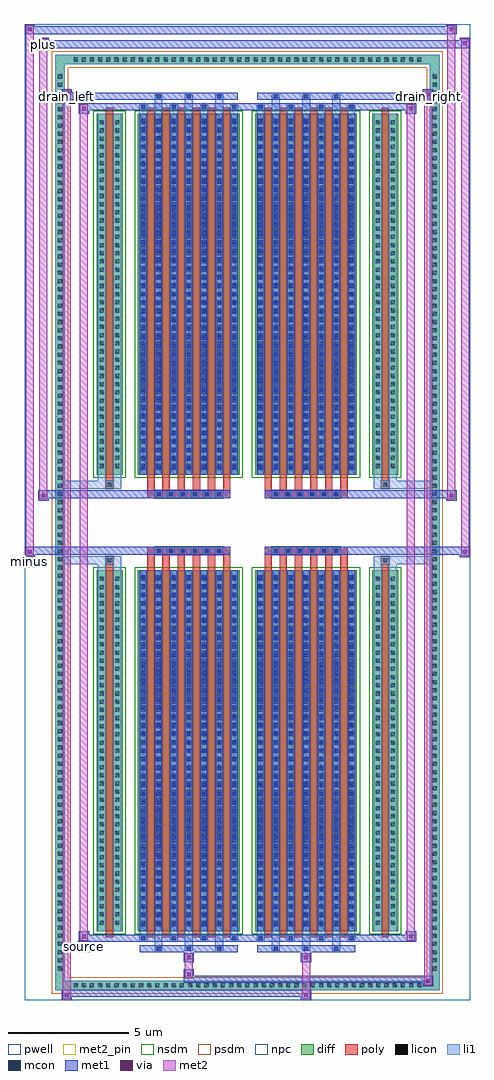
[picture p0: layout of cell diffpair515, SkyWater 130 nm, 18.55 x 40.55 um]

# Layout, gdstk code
import gdstk
lib = gdstk.Library(unit=1e-6, precision=5e-09)
def R(c, l, rs):  # rectangles x0, y0, x1, y1
    for r in rs: c.add(gdstk.rectangle(r[:2], r[2:], *l))
def A(c, l, x, y, w, h, nx, ny, dx, dy):  # array of equal rectangles
    R(c, l, [(x+i*dx, y+j*dy, x+i*dx+w, y+j*dy+h) for i in range(nx) for j in range(ny)])
def P(c, l, *ps):  # polygons
    for p in ps: c.add(gdstk.Polygon(p, *l))
pwell = (64, 44)
diff = (65, 20)
poly = (66, 20)
licon = (66, 44)
li1 = (67, 20)
mcon = (67, 44)
met1 = (68, 20)
via = (68, 44)
met2_pin = (69, 16)
met2 = (69, 20)
nsdm = (93, 44)
psdm = (94, 20)
npc = (95, 20)

diffpair515 = lib.new_cell('diffpair515')
R(diffpair515, pwell, [(-9.26,-19.84,9.26,20.71), (-6.58,-18.03,-0.01,-0.805), (0.01,-18.03,6.58,-0.805), (-6.58,0.805,-0.01,18.03), (0.01,0.805,6.58,18.03)])
A(diffpair515, diff, -7.345, -19.44, 0.41, 0.41, 43, 2, 0.34, 38.47)
A(diffpair515, diff, -7.99, -18.735, 0.41, 0.41, 1, 110, 0, 0.34)
A(diffpair515, diff, 7.58, -18.735, 0.41, 0.41, 1, 110, 0, 0.34)
R(diffpair515, diff, [(-7.345,-19.44,7.345,-19.03), (-7.99,-18.735,-7.58,18.735), (7.58,-18.735,7.99,18.735), (-6.27,-16.985,-5.19,-1.985), (-4.55,-16.985,-0.32,-1.985), (0.32,-16.985,4.55,-1.985), (5.19,-16.985,6.27,-1.985), (-6.27,1.985,-5.19,16.985), (-4.55,1.985,-0.32,16.985), (0.32,1.985,4.55,16.985), (5.19,1.985,6.27,16.985), (-7.345,19.03,7.345,19.44)])
P(diffpair515, diff, [(7.99,19.44),(-7.99,19.44),(-7.99,-19.03),(-7.58,-19.03),(-7.58,19.03),(7.58,19.03),(7.58,-19.03),(-7.58,-19.03),(-7.99,-19.03),(-7.99,-19.44),(7.99,-19.44)])
A(diffpair515, poly, -4.16, -17.235, 0.3, 15.5, 6, 2, 0.63, 18.97)
A(diffpair515, poly, 0.71, -17.235, 0.3, 15.5, 6, 2, 0.63, 18.97)
A(diffpair515, poly, -4.16, -1.735, 0.3, 0.4, 6, 2, 0.63, 3.07)
A(diffpair515, poly, 0.71, -1.735, 0.3, 0.4, 6, 2, 0.63, 3.07)
A(diffpair515, poly, -3.85, -1.335, 0.33, 0.33, 6, 2, 0.5, 2.34)
A(diffpair515, poly, 1.02, -1.335, 0.33, 0.33, 6, 2, 0.5, 2.34)
R(diffpair515, poly, [(-5.88,-17.235,-5.58,-1.735), (5.58,-17.235,5.88,-1.735), (-5.895,-1.735,-5.565,-1.405), (-5.895,-1.735,-5.565,-1.405), (5.565,-1.735,5.895,-1.405), (5.565,-1.735,5.895,-1.405), (-4.16,-1.335,-0.71,-1.005), (0.71,-1.335,4.16,-1.005), (-4.16,1.005,-0.71,1.335), (0.71,1.005,4.16,1.335), (-5.895,1.405,-5.565,1.735), (-5.895,1.405,-5.565,1.735), (5.565,1.405,5.895,1.735), (5.565,1.405,5.895,1.735), (-5.88,1.735,-5.58,17.235), (5.58,1.735,5.88,17.235)])
A(diffpair515, licon, -7.225, -19.32, 0.17, 0.17, 43, 2, 0.34, 38.47)
A(diffpair515, licon, -7.87, -18.615, 0.17, 0.17, 1, 110, 0, 0.34)
A(diffpair515, licon, 7.7, -18.615, 0.17, 0.17, 1, 110, 0, 0.34)
A(diffpair515, licon, -6.13, -16.71, 0.17, 0.17, 1, 43, 0, 0.34)
A(diffpair515, licon, -5.5, -16.71, 0.17, 0.17, 1, 43, 0, 0.34)
A(diffpair515, licon, -4.41, -16.71, 0.17, 0.17, 7, 43, 0.63, 0.34)
A(diffpair515, licon, 0.46, -16.71, 0.17, 0.17, 7, 43, 0.63, 0.34)
A(diffpair515, licon, 5.33, -16.71, 0.17, 0.17, 1, 43, 0, 0.34)
A(diffpair515, licon, 5.96, -16.71, 0.17, 0.17, 1, 43, 0, 0.34)
A(diffpair515, licon, -3.77, -1.255, 0.17, 0.17, 6, 2, 0.5, 2.34)
A(diffpair515, licon, 1.1, -1.255, 0.17, 0.17, 6, 2, 0.5, 2.34)
A(diffpair515, licon, -6.13, 2.26, 0.17, 0.17, 1, 43, 0, 0.34)
A(diffpair515, licon, -5.5, 2.26, 0.17, 0.17, 1, 43, 0, 0.34)
A(diffpair515, licon, -4.41, 2.26, 0.17, 0.17, 7, 43, 0.63, 0.34)
A(diffpair515, licon, 0.46, 2.26, 0.17, 0.17, 7, 43, 0.63, 0.34)
A(diffpair515, licon, 5.33, 2.26, 0.17, 0.17, 1, 43, 0, 0.34)
A(diffpair515, licon, 5.96, 2.26, 0.17, 0.17, 1, 43, 0, 0.34)
R(diffpair515, licon, [(-5.815,-1.655,-5.645,-1.485), (5.645,-1.655,5.815,-1.485), (-5.815,1.485,-5.645,1.655), (5.645,1.485,5.815,1.655)])
A(diffpair515, li1, -7.305, -19.4, 0.33, 0.33, 43, 2, 0.34, 38.47)
A(diffpair515, li1, -7.95, -18.695, 0.33, 0.33, 1, 110, 0, 0.34)
A(diffpair515, li1, 7.62, -18.695, 0.33, 0.33, 1, 110, 0, 0.34)
A(diffpair515, li1, -3.86, -17.79, 0.33, 0.805, 3, 2, 1.26, 34.775)
A(diffpair515, li1, -3.78, -17.79, 0.17, 0.17, 3, 2, 1.26, 35.41)
A(diffpair515, li1, 1.01, -17.79, 0.33, 0.805, 3, 2, 1.26, 34.775)
A(diffpair515, li1, 1.09, -17.79, 0.17, 0.17, 3, 2, 1.26, 35.41)
A(diffpair515, li1, -4.49, -17.36, 0.33, 0.375, 4, 2, 1.26, 34.345)
A(diffpair515, li1, -4.41, -17.36, 0.17, 0.17, 4, 2, 1.26, 34.55)
A(diffpair515, li1, 0.38, -17.36, 0.33, 0.375, 4, 2, 1.26, 34.345)
A(diffpair515, li1, 0.46, -17.36, 0.17, 0.17, 4, 2, 1.26, 34.55)
A(diffpair515, li1, -4.49, -16.985, 0.33, 15, 7, 2, 0.63, 18.97)
A(diffpair515, li1, 0.38, -16.985, 0.33, 15, 7, 2, 0.63, 18.97)
A(diffpair515, li1, -6.21, -16.79, 0.33, 0.33, 1, 43, 0, 0.34)
A(diffpair515, li1, -5.58, -16.79, 0.33, 0.33, 1, 43, 0, 0.34)
A(diffpair515, li1, -4.49, -16.79, 0.33, 0.33, 7, 43, 0.63, 0.34)
A(diffpair515, li1, 0.38, -16.79, 0.33, 0.33, 7, 43, 0.63, 0.34)
A(diffpair515, li1, 5.25, -16.79, 0.33, 0.33, 1, 43, 0, 0.34)
A(diffpair515, li1, 5.88, -16.79, 0.33, 0.33, 1, 43, 0, 0.34)
A(diffpair515, li1, -4.41, -16.77, 0.17, 0.17, 7, 41, 0.63, 0.36)
A(diffpair515, li1, -4.41, -16.77, 0.17, 14.57, 7, 2, 0.63, 18.97)
A(diffpair515, li1, 0.46, -16.77, 0.17, 0.17, 7, 41, 0.63, 0.36)
A(diffpair515, li1, 0.46, -16.77, 0.17, 14.57, 7, 2, 0.63, 18.97)
A(diffpair515, li1, -3.85, -1.335, 0.33, 0.33, 6, 2, 0.5, 2.34)
A(diffpair515, li1, 1.02, -1.335, 0.33, 0.33, 6, 2, 0.5, 2.34)
A(diffpair515, li1, -6.21, 2.18, 0.33, 0.33, 1, 43, 0, 0.34)
A(diffpair515, li1, -5.58, 2.18, 0.33, 0.33, 1, 43, 0, 0.34)
A(diffpair515, li1, -4.49, 2.18, 0.33, 0.33, 7, 43, 0.63, 0.34)
A(diffpair515, li1, 0.38, 2.18, 0.33, 0.33, 7, 43, 0.63, 0.34)
A(diffpair515, li1, 5.25, 2.18, 0.33, 0.33, 1, 43, 0, 0.34)
A(diffpair515, li1, 5.88, 2.18, 0.33, 0.33, 1, 43, 0, 0.34)
A(diffpair515, li1, -4.41, 2.2, 0.17, 0.17, 7, 41, 0.63, 0.36)
A(diffpair515, li1, 0.46, 2.2, 0.17, 0.17, 7, 41, 0.63, 0.36)
R(diffpair515, li1, [(-7.99,-19.44,-7.58,-19.03), (-7.99,-19.44,-7.58,-19.03), (-7.58,-19.44,7.58,-19.03), (7.58,-19.44,7.99,-19.03), (7.58,-19.44,7.99,-19.03), (-7.99,-19.03,-7.58,19.03), (7.58,-19.03,7.99,19.03), (-6.21,-16.985,-5.88,-1.985), (-5.58,-16.985,-5.25,-1.985), (5.25,-16.985,5.58,-1.985), (5.88,-16.985,6.21,-1.985), (-6.21,-1.985,-5.88,-1.405), (-5.58,-1.985,-5.25,-1.405), (5.25,-1.985,5.58,-1.405), (5.88,-1.985,6.21,-1.405), (-7.99,-1.735,-5.895,-1.405), (-6.21,-1.735,-5.895,-1.405), (-5.895,-1.735,-5.565,-1.405), (-5.565,-1.735,-5.25,-1.405), (5.25,-1.735,5.565,-1.405), (5.565,-1.735,5.895,-1.405), (5.565,-1.735,7.99,-1.405), (5.895,-1.735,6.21,-1.405), (-7.99,1.405,-5.895,1.735), (-6.21,1.405,-5.895,1.735), (-6.21,1.405,-5.88,1.985), (-5.895,1.405,-5.565,1.735), (-5.58,1.405,-5.25,1.985), (-5.565,1.405,-5.25,1.735), (5.25,1.405,5.565,1.735), (5.25,1.405,5.58,1.985), (5.565,1.405,5.895,1.735), (5.565,1.405,7.99,1.735), (5.88,1.405,6.21,1.985), (5.895,1.405,6.21,1.735), (-6.21,1.985,-5.88,16.985), (-5.58,1.985,-5.25,16.985), (5.25,1.985,5.58,16.985), (5.88,1.985,6.21,16.985), (-7.99,19.03,-7.58,19.44), (-7.99,19.03,-7.58,19.44), (-7.58,19.03,7.58,19.44), (7.58,19.03,7.99,19.44), (7.58,19.03,7.99,19.44)])
A(diffpair515, mcon, -3.78, -17.79, 0.17, 0.17, 3, 2, 1.26, 35.41)
A(diffpair515, mcon, 1.09, -17.79, 0.17, 0.17, 3, 2, 1.26, 35.41)
A(diffpair515, mcon, -4.41, -17.36, 0.17, 0.17, 4, 2, 1.26, 34.55)
A(diffpair515, mcon, 0.46, -17.36, 0.17, 0.17, 4, 2, 1.26, 34.55)
A(diffpair515, mcon, -4.41, -16.77, 0.17, 0.17, 7, 41, 0.63, 0.36)
A(diffpair515, mcon, 0.46, -16.77, 0.17, 0.17, 7, 41, 0.63, 0.36)
A(diffpair515, mcon, -3.77, -1.255, 0.17, 0.17, 6, 2, 0.5, 2.34)
A(diffpair515, mcon, 1.1, -1.255, 0.17, 0.17, 6, 2, 0.5, 2.34)
A(diffpair515, mcon, -4.41, 2.2, 0.17, 0.17, 7, 41, 0.63, 0.36)
A(diffpair515, mcon, 0.46, 2.2, 0.17, 0.17, 7, 41, 0.63, 0.36)
A(diffpair515, met1, -3.84, -17.85, 0.29, 0.29, 3, 2, 1.26, 35.41)
A(diffpair515, met1, 1.03, -17.85, 0.29, 0.29, 3, 2, 1.26, 35.41)
A(diffpair515, met1, -4.47, -17.42, 0.29, 0.29, 4, 2, 1.26, 34.55)
A(diffpair515, met1, 0.4, -17.42, 0.29, 0.29, 4, 2, 1.26, 34.55)
A(diffpair515, met1, -4.47, -16.985, 0.29, 15, 7, 2, 0.63, 18.97)
A(diffpair515, met1, 0.4, -16.985, 0.29, 15, 7, 2, 0.63, 18.97)
A(diffpair515, met1, -4.47, -16.83, 0.29, 0.29, 7, 41, 0.63, 0.36)
A(diffpair515, met1, 0.4, -16.83, 0.29, 0.29, 7, 41, 0.63, 0.36)
A(diffpair515, met1, -3.83, -1.315, 0.29, 0.29, 6, 2, 0.5, 2.34)
A(diffpair515, met1, 1.04, -1.315, 0.29, 0.29, 6, 2, 0.5, 2.34)
A(diffpair515, met1, -4.47, 2.14, 0.29, 0.29, 7, 41, 0.63, 0.36)
A(diffpair515, met1, 0.4, 2.14, 0.29, 0.29, 7, 41, 0.63, 0.36)
R(diffpair515, met1, [(-7.72,-19.84,-7.29,-19.41), (2.22,-19.84,2.65,-19.41), (-7.72,-19.7,2.65,-19.41), (7.29,-19.27,7.72,-18.84), (-2.65,-19.13,7.72,-18.84), (-2.65,-18.99,-2.22,-18.56), (-2.65,-18.28,-2.22,-17.85), (2.22,-18.28,2.65,-17.85), (-4.47,-17.85,-0.4,-17.56), (0.4,-17.85,4.47,-17.56), (-7.01,-17.42,-6.58,-16.99), (-7.01,-17.42,-4.47,-17.13), (-4.47,-17.42,-0.4,-17.13), (-0.4,-17.42,0.4,-17.13), (0.4,-17.42,4.47,-17.13), (4.47,-17.42,7.01,-17.13), (6.58,-17.42,7.01,-16.99), (-9.26,-1.435,-8.83,-1.005), (8.83,-1.435,9.26,-1.005), (-9.26,-1.335,-0.71,-1.005), (-4.16,-1.335,-0.71,-1.005), (0.71,-1.335,4.16,-1.005), (0.71,-1.335,9.26,-1.005), (-8.69,0.905,-8.26,1.335), (8.26,0.905,8.69,1.335), (-8.69,1.005,-4.16,1.335), (-4.16,1.005,-0.71,1.335), (0.71,1.005,4.16,1.335), (4.16,1.005,8.69,1.335), (-7.01,16.99,-6.58,17.42), (6.58,16.99,7.01,17.42), (-7.01,17.13,-4.47,17.42), (-4.47,17.13,-0.4,17.42), (-0.4,17.13,0.4,17.42), (0.4,17.13,4.47,17.42), (4.47,17.13,7.01,17.42), (-7.72,17.56,-7.29,17.99), (-7.72,17.56,-4.47,17.85), (-4.47,17.56,-0.4,17.85), (0.4,17.56,4.47,17.85), (4.47,17.56,7.72,17.85), (7.29,17.56,7.72,17.99), (-8.69,19.71,-8.26,20.14), (-8.69,19.71,-6.58,20.04), (-6.58,19.71,6.58,20.04), (6.58,19.71,9.26,20.04), (8.83,19.71,9.26,20.14), (-9.26,20.28,-8.83,20.71), (-9.26,20.28,-6.58,20.61), (-6.58,20.28,6.58,20.61), (6.58,20.28,8.69,20.61), (8.26,20.28,8.69,20.71)])
R(diffpair515, via, [(-7.58,-19.7,-7.43,-19.55), (2.36,-19.7,2.51,-19.55), (7.43,-19.13,7.58,-18.98), (-2.51,-18.85,-2.36,-18.7), (-2.51,-18.14,-2.36,-17.99), (2.36,-18.14,2.51,-17.99), (-6.87,-17.28,-6.72,-17.13), (6.72,-17.28,6.87,-17.13), (-9.12,-1.295,-8.97,-1.145), (8.97,-1.295,9.12,-1.145), (-8.55,1.045,-8.4,1.195), (8.4,1.045,8.55,1.195), (-6.87,17.13,-6.72,17.28), (6.72,17.13,6.87,17.28), (-7.58,17.7,-7.43,17.85), (7.43,17.7,7.58,17.85), (-8.55,19.85,-8.4,20), (8.97,19.85,9.12,20), (-9.12,20.42,-8.97,20.57), (8.4,20.42,8.55,20.57)])
R(diffpair515, met2_pin, [(-7.045,-17.87,-6.545,-17.37), (-9.295,-1.885,-8.795,-1.385), (-7.755,17.44,-7.255,17.94), (7.255,17.44,7.755,17.94), (-8.725,19.59,-8.225,20.09)])
R(diffpair515, met2, [(-7.67,-19.79,-7.34,-19.46), (-7.67,-19.79,-7.34,17.94), (2.27,-19.79,2.6,-19.46), (2.27,-19.46,2.6,-18.23), (7.34,-19.22,7.67,-18.89), (7.34,-19.22,7.67,17.94), (-2.6,-18.94,-2.27,-18.61), (-2.6,-18.61,-2.27,-18.23), (-2.6,-18.23,-2.27,-17.9), (2.27,-18.23,2.6,-17.9), (-6.96,-17.37,-6.63,-17.04), (-6.96,-17.37,-6.63,17.37), (6.63,-17.37,6.96,-17.04), (6.63,-17.37,6.96,17.37), (-9.21,-1.385,-8.88,-1.055), (-9.21,-1.385,-8.88,20.66), (8.88,-1.385,9.21,-1.055), (8.88,-1.385,9.21,20.09), (-8.64,0.955,-8.31,1.285), (-8.64,0.955,-8.31,20.09), (8.31,0.955,8.64,1.285), (8.31,0.955,8.64,20.66), (-6.96,17.04,-6.63,17.37), (6.63,17.04,6.96,17.37), (-7.67,17.61,-7.34,17.94), (7.34,17.61,7.67,17.94), (-8.64,19.76,-8.31,20.09), (8.88,19.76,9.21,20.09), (-9.21,20.33,-8.88,20.66), (8.31,20.33,8.64,20.66)])
P(diffpair515, met2, [(9.21,-1.385),(9.21,-1.385),(9.21,-1.055),(9.21,-1.055)],
  [(9.21,19.76),(9.21,19.76),(9.21,20.09),(9.21,20.09)],
  [(-8.88,-1.385),(-8.88,-1.385),(-8.88,-1.055),(-8.88,-1.055)],
  [(-8.88,20.33),(-8.88,20.33),(-8.88,20.66),(-8.88,20.66)],
  [(8.64,0.955),(8.64,0.955),(8.64,1.285),(8.64,1.285)],
  [(8.64,20.33),(8.64,20.33),(8.64,20.66),(8.64,20.66)],
  [(-8.31,0.955),(-8.31,0.955),(-8.31,1.285),(-8.31,1.285)],
  [(-8.31,19.76),(-8.31,19.76),(-8.31,20.09),(-8.31,20.09)],
  [(-7.34,-19.79),(-7.34,-19.79),(-7.34,-19.46),(-7.34,-19.46)],
  [(-7.34,17.61),(-7.34,17.61),(-7.34,17.94),(-7.34,17.94)],
  [(7.67,-19.22),(7.67,-19.22),(7.67,-18.89),(7.67,-18.89)],
  [(7.67,17.61),(7.67,17.61),(7.67,17.94),(7.67,17.94)],
  [(-6.63,-17.37),(-6.63,-17.37),(-6.63,-17.04),(-6.63,-17.04)],
  [(-6.63,17.04),(-6.63,17.04),(-6.63,17.37),(-6.63,17.37)],
  [(6.96,-17.37),(6.96,-17.37),(6.96,-17.04),(6.96,-17.04)],
  [(6.96,17.04),(6.96,17.04),(6.96,17.37),(6.96,17.37)])
R(diffpair515, nsdm, [(-6.4,-17.115,-5.06,-1.855), (-4.68,-17.115,-0.19,-1.855), (0.19,-17.115,4.68,-1.855), (5.06,-17.115,6.4,-1.855), (-6.4,1.855,-5.06,17.115), (-4.68,1.855,-0.19,17.115), (0.19,1.855,4.68,17.115), (5.06,1.855,6.4,17.115)])
P(diffpair515, psdm, [(8.12,19.57),(-8.12,19.57),(-8.12,-18.9),(-7.45,-18.9),(-7.45,18.9),(7.45,18.9),(7.45,-18.9),(-7.45,-18.9),(-8.12,-18.9),(-8.12,-19.57),(8.12,-19.57)])
A(diffpair515, npc, -3.87, -1.355, 0.37, 0.37, 6, 2, 0.5, 2.34)
A(diffpair515, npc, 1, -1.355, 0.37, 0.37, 6, 2, 0.5, 2.34)
R(diffpair515, npc, [(-5.915,-1.755,-5.545,-1.385), (5.545,-1.755,5.915,-1.385), (-3.87,-1.355,-3,-0.985), (-3.87,-1.355,-3,-0.985), (-3.37,-1.355,-2.5,-0.985), (-3.37,-1.355,-2.5,-0.985), (-2.87,-1.355,-2,-0.985), (-2.87,-1.355,-2,-0.985), (-2.37,-1.355,-1.5,-0.985), (-2.37,-1.355,-1.5,-0.985), (-1.87,-1.355,-1,-0.985), (-1.87,-1.355,-1,-0.985), (1,-1.355,1.87,-0.985), (1,-1.355,1.87,-0.985), (1.5,-1.355,2.37,-0.985), (1.5,-1.355,2.37,-0.985), (2,-1.355,2.87,-0.985), (2,-1.355,2.87,-0.985), (2.5,-1.355,3.37,-0.985), (2.5,-1.355,3.37,-0.985), (3,-1.355,3.87,-0.985), (3,-1.355,3.87,-0.985), (-3.87,0.985,-3,1.355), (-3.87,0.985,-3,1.355), (-3.37,0.985,-2.5,1.355), (-3.37,0.985,-2.5,1.355), (-2.87,0.985,-2,1.355), (-2.87,0.985,-2,1.355), (-2.37,0.985,-1.5,1.355), (-2.37,0.985,-1.5,1.355), (-1.87,0.985,-1,1.355), (-1.87,0.985,-1,1.355), (1,0.985,1.87,1.355), (1,0.985,1.87,1.355), (1.5,0.985,2.37,1.355), (1.5,0.985,2.37,1.355), (2,0.985,2.87,1.355), (2,0.985,2.87,1.355), (2.5,0.985,3.37,1.355), (2.5,0.985,3.37,1.355), (3,0.985,3.87,1.355), (3,0.985,3.87,1.355), (-5.915,1.385,-5.545,1.755), (5.545,1.385,5.915,1.755)])
diffpair515.add(gdstk.Label('minus', (-9.045,-1.635), layer=69, texttype=5))
diffpair515.add(gdstk.Label('drain_right', (7.505,17.69), layer=69, texttype=5))
diffpair515.add(gdstk.Label('drain_left', (-7.505,17.69), layer=69, texttype=5))
diffpair515.add(gdstk.Label('source', (-6.795,-17.62), layer=69, texttype=5))
diffpair515.add(gdstk.Label('plus', (-8.475,19.84), layer=69, texttype=5))

lib.write_gds('diffpair515.gds')
